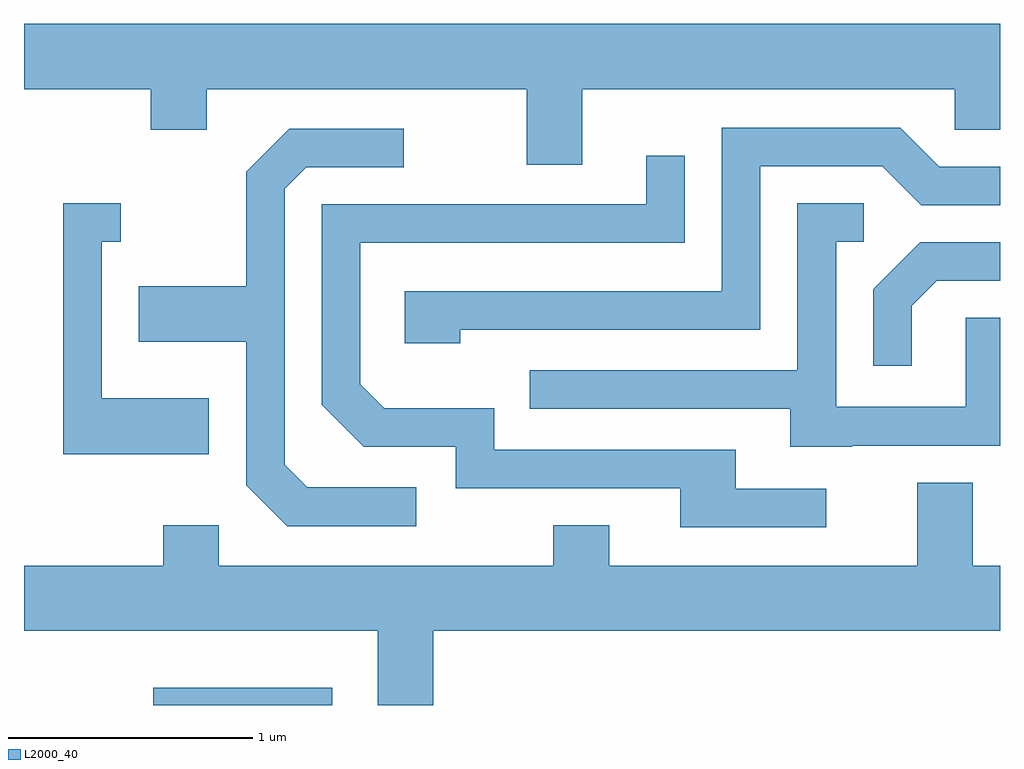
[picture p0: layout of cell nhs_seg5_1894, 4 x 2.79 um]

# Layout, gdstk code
import gdstk
lib = gdstk.Library(unit=1e-6, precision=1e-09)
def R(c, l, rs):  # rectangles x0, y0, x1, y1
    for r in rs: c.add(gdstk.rectangle(r[:2], r[2:], *l))
def P(c, l, *ps):  # polygons
    for p in ps: c.add(gdstk.Polygon(p, *l))
L2000_40 = (2000, 40)

nhs_seg5_1894 = lib.new_cell('nhs_seg5_1894')
R(nhs_seg5_1894, L2000_40, [(242.141,1432.072,242.874,1432.144)])
P(nhs_seg5_1894, L2000_40, [(241.611,1434.596),(242.131,1434.596),(242.131,1434.431),(242.359,1434.431),(242.359,1434.596),(243.671,1434.596),(243.671,1434.286),(243.899,1434.286),(243.899,1434.596),(245.426,1434.596),(245.426,1434.431),(245.611,1434.431),(245.611,1434.864),(241.611,1434.864)],
  [(243.399,1433.611),(244.629,1433.611),(244.629,1434.281),(245.129,1434.281),(245.289,1434.121),(245.611,1434.121),(245.611,1434.279),(245.362,1434.279),(245.202,1434.439),(244.471,1434.439),(244.471,1433.769),(243.171,1433.769),(243.171,1433.556),(243.399,1433.556)],
  [(243.218,1432.964),(242.772,1432.964),(242.679,1433.057),(242.679,1434.189),(242.767,1434.276),(243.168,1434.276),(243.168,1434.434),(242.699,1434.434),(242.521,1434.257),(242.521,1433.789),(242.081,1433.789),(242.081,1433.561),(242.521,1433.561),(242.521,1432.974),(242.689,1432.806),(243.218,1432.806)],
  [(244.898,1432.959),(244.529,1432.959),(244.529,1433.119),(243.539,1433.119),(243.539,1433.289),(243.087,1433.289),(242.989,1433.387),(242.989,1433.966),(244.319,1433.966),(244.319,1434.323),(244.161,1434.323),(244.161,1434.124),(242.831,1434.124),(242.831,1433.304),(243.004,1433.131),(243.381,1433.131),(243.381,1432.961),(244.301,1432.961),(244.301,1432.801),(244.898,1432.801)],
  [(245.005,1433.136),(245.611,1433.136),(245.611,1433.659),(245.471,1433.659),(245.471,1433.294),(244.939,1433.294),(244.939,1433.971),(245.053,1433.971),(245.053,1434.129),(244.781,1434.129),(244.781,1433.444),(243.683,1433.444),(243.683,1433.286),(244.751,1433.286),(244.751,1433.131),(245.005,1433.131)],
  [(242.369,1433.329),(241.929,1433.329),(241.929,1433.971),(242.008,1433.971),(242.008,1434.129),(241.771,1434.129),(241.771,1433.101),(242.369,1433.101)],
  [(245.249,1433.709),(245.352,1433.811),(245.611,1433.811),(245.611,1433.969),(245.284,1433.969),(245.091,1433.777),(245.091,1433.463),(245.249,1433.463)],
  [(243.289,1432.376),(245.611,1432.376),(245.611,1432.644),(245.499,1432.644),(245.499,1432.984),(245.271,1432.984),(245.271,1432.644),(244.009,1432.644),(244.009,1432.809),(243.781,1432.809),(243.781,1432.644),(242.409,1432.644),(242.409,1432.809),(242.181,1432.809),(242.181,1432.644),(241.611,1432.644),(241.611,1432.376),(243.061,1432.376),(243.061,1432.072),(243.289,1432.072)])

lib.write_gds('nhs_seg5_1894.gds')
